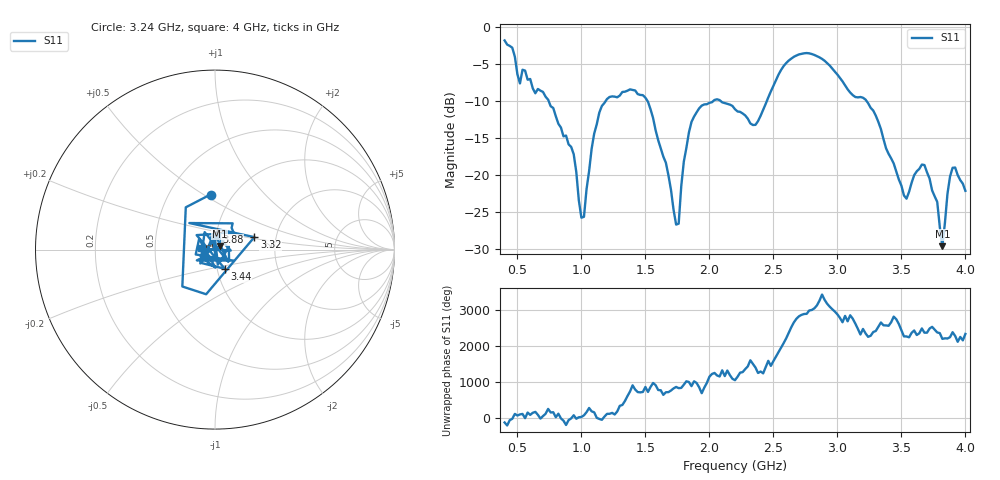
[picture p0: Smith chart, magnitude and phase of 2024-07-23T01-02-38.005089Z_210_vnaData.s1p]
!Created with skrf (http://scikit-rf.org).
# Hz S RI R 50.0
!freq ReS11 ImS11
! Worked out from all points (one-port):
!   181 points, 400 MHz to 4 GHz, reference 50 ohm
!   lowest |S11| = -29.6 dB at 3.82 GHz (marker M1), VSWR 1.07, Z = 52.6 + j2.17 ohm
!   |S11| at or under -10 dB: 745.5 MHz to 1.187 GHz (442 MHz wide, 45.7 % of centre); 1.519 GHz to 2.027 GHz (507.7 MHz wide, 28.6 % of centre); 3.23 GHz to end of sweep (the widest 3 of 4)
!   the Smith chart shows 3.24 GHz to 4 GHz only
!   S11 on the Smith chart (normalised r, x): 3.24 GHz: 0.79, +0.54; 3.32 GHz: 1.54, +0.23; 3.44 GHz: 1.09, -0.24; 3.88 GHz: 1.00, +0.20; 4 GHz: 0.85, +0.01
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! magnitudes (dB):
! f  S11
! 400 MHz  -1.8
! 520 MHz  -7.6
! 700 MHz  -8.7
! 860 MHz  -14.7
! 940 MHz  -17.1
! 1 GHz  -25.7
! 1.02 GHz  -25.6
! 1.08 GHz  -16.4
! 1.14 GHz  -11.5
! 1.3 GHz  -9.2
! 1.52 GHz  -10.0
! 1.76 GHz  -26.5
! 1.8 GHz  -18.1
! 1.88 GHz  -12.1
! 2.2 GHz  -11.0
! 2.36 GHz  -13.2
! 2.66 GHz  -4.0
! 2.88 GHz  -4.2
! 3.1 GHz  -8.8
! 3.24 GHz  -10.2
! 3.32 GHz  -12.8
! 3.44 GHz  -18.4
! 3.56 GHz  -22.2
! 3.68 GHz  -18.6
! 3.78 GHz  -23.6
! 3.82 GHz  -29.6
! 3.88 GHz  -20.1
! 4 GHz  -22.1
